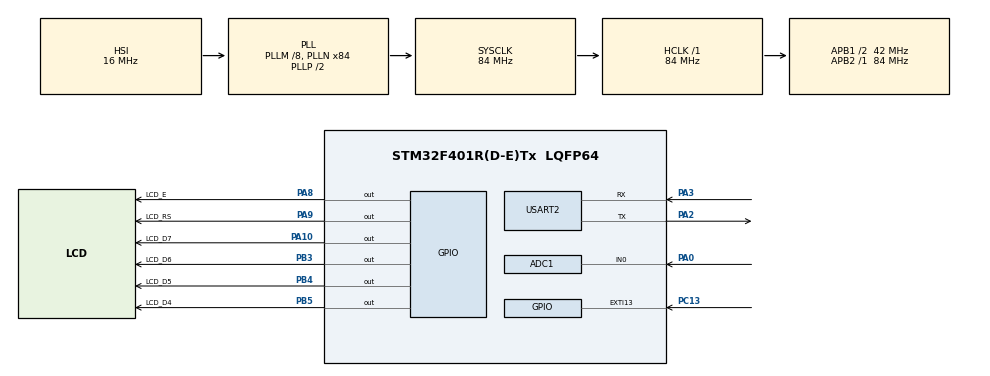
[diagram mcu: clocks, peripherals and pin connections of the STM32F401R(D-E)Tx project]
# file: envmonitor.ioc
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ADC1.Channel-0\#ChannelRegularConversion=ADC_CHANNEL_0
ADC1.NbrOfConversionFlag=1
ADC1.Rank-0\#ChannelRegularConversion=1
ADC1.SamplingTime-0\#ChannelRegularConversion=ADC_SAMPLETIME_3CYCLES
ADC1.master=1
Mcu.Family=STM32F4
Mcu.Name=STM32F401R(D-E)Tx
Mcu.Package=LQFP64
NVIC.EXTI15_10_IRQn=true\:0\:0\:false\:false\:true\:true\:true\:true
NVIC.PriorityGroup=NVIC_PRIORITYGROUP_4
PA0-WKUP.Signal=ADCx_IN0
PA10.GPIO_Label=LCD_D7
PA10.Signal=GPIO_Output
PA2.Mode=Asynchronous
PA2.Signal=USART2_TX
PA3.Mode=Asynchronous
PA3.Signal=USART2_RX
PA8.GPIO_Label=LCD_E
PA8.Signal=GPIO_Output
PA9.GPIO_Label=LCD_RS
PA9.Signal=GPIO_Output
PB3.GPIO_Label=LCD_D6
PB3.Signal=GPIO_Output
PB4.GPIO_Label=LCD_D5
PB4.Signal=GPIO_Output
PB5.GPIO_Label=LCD_D4
PB5.Signal=GPIO_Output
PC13-ANTI_TAMP.GPIO_ModeDefaultEXTI=GPIO_MODE_IT_FALLING
PC13-ANTI_TAMP.Signal=GPXTI13
ProjectManager.HeapSize=0x200
ProjectManager.StackSize=0x400
ProjectManager.TargetToolchain=MDK-ARM V5.32
RCC.48MHZClocksFreq_Value=42000000
RCC.AHBFreq_Value=84000000
RCC.APB1CLKDivider=RCC_HCLK_DIV2
RCC.APB1Freq_Value=42000000
RCC.APB1TimFreq_Value=84000000
RCC.APB2Freq_Value=84000000
RCC.APB2TimFreq_Value=84000000
RCC.CortexFreq_Value=84000000
RCC.HCLKFreq_Value=84000000
RCC.HSE_VALUE=25000000
RCC.HSI_VALUE=16000000
RCC.LSE_VALUE=32768
RCC.PLLM=8
RCC.PLLN=84
RCC.SYSCLKFreq_VALUE=84000000
RCC.SYSCLKSource=RCC_SYSCLKSOURCE_PLLCLK
RCC.VCOOutputFreq_Value=168000000
SH.ADCx_IN0.0=ADC1_IN0,IN0
TIM2.Period=0xFFFFFFFF
TIM2.Prescaler=83
USART2.VirtualMode=VM_ASYNC
VP_TIM2_VS_ClockSourceINT.Mode=Internal
board=custom

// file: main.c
/* USER CODE BEGIN Header */
/**
  ******************************************************************************
  * @file           : main.c
  * @brief          : Main program body
  ******************************************************************************
  * @attention
  *
  * Copyright (c) 2026 STMicroelectronics.
  * All rights reserved.
  *
  * This software is licensed under terms that can be found in the LICENSE file
  * in the root directory of this software component.
  * If no LICENSE file comes with this software, it is provided AS-IS.
  *
  ******************************************************************************
  */
/* USER CODE END Header */
#include "main.h"

/* USER CODE BEGIN Includes */
#include <stdio.h>
#include <string.h>
/* USER CODE END Includes */

ADC_HandleTypeDef hadc1;

TIM_HandleTypeDef htim2;

UART_HandleTypeDef huart2;

void SystemClock_Config(void);
static void MX_GPIO_Init(void);
static void MX_ADC1_Init(void);
static void MX_USART2_UART_Init(void);
static void MX_TIM2_Init(void);
/* USER CODE BEGIN PFP */
void UART_Print(const char *msg);
uint32_t ADC_Read(void);
void delay_us(uint32_t us);
uint8_t DHT11_Read(uint8_t *temperature, uint8_t *humidity);
void LCD_Init(void);
void LCD_Clear(void);
void LCD_SetCursor(uint8_t row, uint8_t col);
void LCD_Print(const char *str);
void LCD_SendCmd(uint8_t cmd);
void LCD_SendData(uint8_t data);
void LCD_SendNibble(uint8_t nibble);
/* USER CODE END PFP */

/* USER CODE BEGIN 0 */
void UART_Print(const char *msg) {
    HAL_UART_Transmit(&huart2, (uint8_t*)msg, strlen(msg), HAL_MAX_DELAY);
}

uint32_t ADC_Read(void) {
    HAL_ADC_Start(&hadc1);
    HAL_ADC_PollForConversion(&hadc1, HAL_MAX_DELAY);
    return HAL_ADC_GetValue(&hadc1);
}

void delay_us(uint32_t us) {
    __HAL_TIM_SET_COUNTER(&htim2, 0);
    HAL_TIM_Base_Start(&htim2);
    while(__HAL_TIM_GET_COUNTER(&htim2) < us);
    HAL_TIM_Base_Stop(&htim2);
}

uint8_t DHT11_Read(uint8_t *temperature, uint8_t *humidity) {
    uint8_t data[5] = {0};

    // Send start signal
    GPIO_InitTypeDef GPIO_InitStruct = {0};
    GPIO_InitStruct.Pin = GPIO_PIN_1;
    GPIO_InitStruct.Mode = GPIO_MODE_OUTPUT_PP;
    GPIO_InitStruct.Speed = GPIO_SPEED_FREQ_LOW;
    HAL_GPIO_Init(GPIOA, &GPIO_InitStruct);

    HAL_GPIO_WritePin(GPIOA, GPIO_PIN_1, GPIO_PIN_RESET);
    HAL_Delay(18);
    HAL_GPIO_WritePin(GPIOA, GPIO_PIN_1, GPIO_PIN_SET);
    delay_us(30);

    // Switch to input to read response
    GPIO_InitStruct.Mode = GPIO_MODE_INPUT;
    GPIO_InitStruct.Pull = GPIO_PULLUP;
    HAL_GPIO_Init(GPIOA, &GPIO_InitStruct);

    // Wait for DHT11 response
    delay_us(40);
    if(HAL_GPIO_ReadPin(GPIOA, GPIO_PIN_1) == GPIO_PIN_SET) return 0;
    delay_us(80);
    if(HAL_GPIO_ReadPin(GPIOA, GPIO_PIN_1) == GPIO_PIN_RESET) return 0;
    delay_us(80);

    // Read 40 bits (5 bytes)
    for(int i = 0; i < 5; i++) {
        for(int j = 7; j >= 0; j--) {
            while(HAL_GPIO_ReadPin(GPIOA, GPIO_PIN_1) == GPIO_PIN_RESET);
            delay_us(40);
            if(HAL_GPIO_ReadPin(GPIOA, GPIO_PIN_1) == GPIO_PIN_SET) {
                data[i] |= (1 << j);
                while(HAL_GPIO_ReadPin(GPIOA, GPIO_PIN_1) == GPIO_PIN_SET);
            }
        }
    }

    // Verify checksum
    if(data[4] != (data[0] + data[1] + data[2] + data[3])) return 0;

    *humidity    = data[0];
    *temperature = data[2];
    return 1;
}
// --- LCD Driver ---

void LCD_SendNibble(uint8_t nibble) {
    HAL_GPIO_WritePin(GPIOB, GPIO_PIN_5, (nibble >> 0) & 1); // D4
    HAL_GPIO_WritePin(GPIOB, GPIO_PIN_4, (nibble >> 1) & 1); // D5
    HAL_GPIO_WritePin(GPIOB, GPIO_PIN_3, (nibble >> 2) & 1); // D6
    HAL_GPIO_WritePin(GPIOA, GPIO_PIN_10,(nibble >> 3) & 1); // D7

    // Pulse E pin
    HAL_GPIO_WritePin(GPIOA, GPIO_PIN_8, GPIO_PIN_SET);
    delay_us(1);
    HAL_GPIO_WritePin(GPIOA, GPIO_PIN_8, GPIO_PIN_RESET);
    delay_us(50);
}

void LCD_SendCmd(uint8_t cmd) {
    HAL_GPIO_WritePin(GPIOA, GPIO_PIN_9, GPIO_PIN_RESET); // RS = 0 (command)
    LCD_SendNibble(cmd >> 4);   // high nibble first
    LCD_SendNibble(cmd & 0x0F); // low nibble
    HAL_Delay(2);
}

void LCD_SendData(uint8_t data) {
    HAL_GPIO_WritePin(GPIOA, GPIO_PIN_9, GPIO_PIN_SET); // RS = 1 (data)
    LCD_SendNibble(data >> 4);   // high nibble first
    LCD_SendNibble(data & 0x0F); // low nibble
    HAL_Delay(2);
}

void LCD_Init(void) {
    HAL_Delay(50); // wait for LCD power up

    HAL_GPIO_WritePin(GPIOA, GPIO_PIN_9, GPIO_PIN_RESET); // RS = 0
    HAL_GPIO_WritePin(GPIOA, GPIO_PIN_8, GPIO_PIN_RESET); // E  = 0

    // 4-bit init sequence
    LCD_SendNibble(0x03);
    HAL_Delay(5);
    LCD_SendNibble(0x03);
    HAL_Delay(1);
    LCD_SendNibble(0x03);
    HAL_Delay(1);
    LCD_SendNibble(0x02); // switch to 4-bit mode

    LCD_SendCmd(0x28); // 4-bit, 2 lines, 5x8 font
    LCD_SendCmd(0x0C); // display on, cursor off
    LCD_SendCmd(0x06); // entry mode - increment, no shift
    LCD_SendCmd(0x01); // clear display
    HAL_Delay(2);
}

void LCD_Clear(void) {
    LCD_SendCmd(0x01);
    HAL_Delay(2);
}

void LCD_SetCursor(uint8_t row, uint8_t col) {
    uint8_t addr = (row == 0) ? 0x00 : 0x40;
    LCD_SendCmd(0x80 | (addr + col));
}

void LCD_Print(const char *str) {
    while(*str) {
        LCD_SendData((uint8_t)*str++);
    }
}
// State machine
DisplayState currentScreen = SCREEN_MAIN;

// Min/max tracking
uint8_t maxTemp = 0, minTemp = 99;
uint8_t maxHum = 0, minHum = 99;

// Button debounce
uint32_t lastButtonPress = 0;

/* USER CODE END 0 */

int main(void)
{

  /* MCU Configuration--------------------------------------------------------*/

  /* Reset of all peripherals, Initializes the Flash interface and the Systick. */
  HAL_Init();

  /* Configure the system clock */
  SystemClock_Config();

  /* Initialize all configured peripherals */
  MX_GPIO_Init();
  MX_ADC1_Init();
  MX_USART2_UART_Init();
  MX_TIM2_Init();
  /* USER CODE BEGIN 2 */
	UART_Print("Boot OK\r\n");
LCD_Init();
LCD_SetCursor(0, 0);
LCD_Print("Env Monitor");
LCD_SetCursor(1, 0);
LCD_Print("Starting...");
HAL_Delay(3000);
LCD_Clear();
  /* USER CODE END 2 */

  /* Infinite loop */
  while (1)
  {

    /* USER CODE BEGIN 3 */
uint32_t lightRaw = ADC_Read();
uint32_t lightPct = (lightRaw * 100) / 4095;

uint8_t temp = 0, hum = 0;
uint8_t dht_ok = DHT11_Read(&temp, &hum);

if(dht_ok) {
    if(temp > maxTemp) maxTemp = temp;
    if(temp < minTemp) minTemp = temp;
    if(hum > maxHum)   maxHum = hum;
    if(hum < minHum)   minHum = hum;
}

char buf[64];
sprintf(buf, "Light: %u%%  Temp: %uC  Hum: %u%%  DHT:%s\r\n",
        lightPct, temp, hum, dht_ok ? "OK" : "ERR");
UART_Print(buf);

char line1[17], line2[17];

switch(currentScreen) {
    case SCREEN_MAIN:
        if(dht_ok)
            snprintf(line1, sizeof(line1), "T:%uC  H:%u%%      ", temp, hum);
        else
            snprintf(line1, sizeof(line1), "DHT Error       ");
        snprintf(line2, sizeof(line2), "Light: %u%%      ", lightPct);
        break;

    case SCREEN_MINMAX:
        snprintf(line1, sizeof(line1), "MaxT:%uC MinT:%uC", maxTemp, minTemp);
        snprintf(line2, sizeof(line2), "MaxH:%u%% MinH:%u%%", maxHum, minHum);
        break;

    case SCREEN_SUMMARY:
        snprintf(line1, sizeof(line1), "Env Monitor     ");
        if(dht_ok && temp < 30 && hum < 60)
            snprintf(line2, sizeof(line2), "All Good!       ");
        else if(temp >= 30)
            snprintf(line2, sizeof(line2), "Too Hot!        ");
        else if(hum >= 60)
            snprintf(line2, sizeof(line2), "Too Humid!      ");
        else
            snprintf(line2, sizeof(line2), "Check Sensors   ");
        break;
}

LCD_SetCursor(0, 0);
LCD_Print(line1);
LCD_SetCursor(1, 0);
LCD_Print(line2);

HAL_Delay(1000);
	}
  /* USER CODE END 3 */
}

void SystemClock_Config(void)
{
  RCC_OscInitTypeDef RCC_OscInitStruct = {0};
  RCC_ClkInitTypeDef RCC_ClkInitStruct = {0};

  /** Configure the main internal regulator output voltage
  */
  __HAL_RCC_PWR_CLK_ENABLE();
  __HAL_PWR_VOLTAGESCALING_CONFIG(PWR_REGULATOR_VOLTAGE_SCALE2);

  /** Initializes the RCC Oscillators according to the specified parameters
  * in the RCC_OscInitTypeDef structure.
  */
  RCC_OscInitStruct.OscillatorType = RCC_OSCILLATORTYPE_HSI;
  RCC_OscInitStruct.HSIState = RCC_HSI_ON;
  RCC_OscInitStruct.HSICalibrationValue = RCC_HSICALIBRATION_DEFAULT;
  RCC_OscInitStruct.PLL.PLLState = RCC_PLL_ON;
  RCC_OscInitStruct.PLL.PLLSource = RCC_PLLSOURCE_HSI;
  RCC_OscInitStruct.PLL.PLLM = 8;
  RCC_OscInitStruct.PLL.PLLN = 84;
  RCC_OscInitStruct.PLL.PLLP = RCC_PLLP_DIV2;
  RCC_OscInitStruct.PLL.PLLQ = 4;
  if (HAL_RCC_OscConfig(&RCC_OscInitStruct) != HAL_OK)
  {
    Error_Handler();
  }

  /** Initializes the CPU, AHB and APB buses clocks
  */
  RCC_ClkInitStruct.ClockType = RCC_CLOCKTYPE_HCLK|RCC_CLOCKTYPE_SYSCLK
                              |RCC_CLOCKTYPE_PCLK1|RCC_CLOCKTYPE_PCLK2;
  RCC_ClkInitStruct.SYSCLKSource = RCC_SYSCLKSOURCE_PLLCLK;
  RCC_ClkInitStruct.AHBCLKDivider = RCC_SYSCLK_DIV1;
  RCC_ClkInitStruct.APB1CLKDivider = RCC_HCLK_DIV2;
  RCC_ClkInitStruct.APB2CLKDivider = RCC_HCLK_DIV1;

  if (HAL_RCC_ClockConfig(&RCC_ClkInitStruct, FLASH_LATENCY_2) != HAL_OK)
  {
    Error_Handler();
  }
}

static void MX_ADC1_Init(void)
{

  ADC_ChannelConfTypeDef sConfig = {0};

  /** Configure the global features of the ADC (Clock, Resolution, Data Alignment and number of conversion)
  */
  hadc1.Instance = ADC1;
  hadc1.Init.ClockPrescaler = ADC_CLOCK_SYNC_PCLK_DIV4;
  hadc1.Init.Resolution = ADC_RESOLUTION_12B;
  hadc1.Init.ScanConvMode = DISABLE;
  hadc1.Init.ContinuousConvMode = DISABLE;
  hadc1.Init.DiscontinuousConvMode = DISABLE;
  hadc1.Init.ExternalTrigConvEdge = ADC_EXTERNALTRIGCONVEDGE_NONE;
  hadc1.Init.ExternalTrigConv = ADC_SOFTWARE_START;
  hadc1.Init.DataAlign = ADC_DATAALIGN_RIGHT;
  hadc1.Init.NbrOfConversion = 1;
  hadc1.Init.DMAContinuousRequests = DISABLE;
  hadc1.Init.EOCSelection = ADC_EOC_SINGLE_CONV;
  if (HAL_ADC_Init(&hadc1) != HAL_OK)
  {
    Error_Handler();
  }

  /** Configure for the selected ADC regular channel its corresponding rank in the sequencer and its sample time.
  */
  sConfig.Channel = ADC_CHANNEL_0;
  sConfig.Rank = 1;
  sConfig.SamplingTime = ADC_SAMPLETIME_3CYCLES;
  if (HAL_ADC_ConfigChannel(&hadc1, &sConfig) != HAL_OK)
  {
    Error_Handler();
  }

}

static void MX_TIM2_Init(void)
{

  TIM_ClockConfigTypeDef sClockSourceConfig = {0};
  TIM_MasterConfigTypeDef sMasterConfig = {0};

  htim2.Instance = TIM2;
  htim2.Init.Prescaler = 83;
  htim2.Init.CounterMode = TIM_COUNTERMODE_UP;
  htim2.Init.Period = 0xFFFFFFFF;
  htim2.Init.ClockDivision = TIM_CLOCKDIVISION_DIV1;
  htim2.Init.AutoReloadPreload = TIM_AUTORELOAD_PRELOAD_DISABLE;
  if (HAL_TIM_Base_Init(&htim2) != HAL_OK)
  {
    Error_Handler();
  }
  sClockSourceConfig.ClockSource = TIM_CLOCKSOURCE_INTERNAL;
  if (HAL_TIM_ConfigClockSource(&htim2, &sClockSourceConfig) != HAL_OK)
  {
    Error_Handler();
  }
  sMasterConfig.MasterOutputTrigger = TIM_TRGO_RESET;
  sMasterConfig.MasterSlaveMode = TIM_MASTERSLAVEMODE_DISABLE;
  if (HAL_TIMEx_MasterConfigSynchronization(&htim2, &sMasterConfig) != HAL_OK)
  {
    Error_Handler();
  }

}

static void MX_USART2_UART_Init(void)
{

  huart2.Instance = USART2;
  huart2.Init.BaudRate = 115200;
  huart2.Init.WordLength = UART_WORDLENGTH_8B;
  huart2.Init.StopBits = UART_STOPBITS_1;
  huart2.Init.Parity = UART_PARITY_NONE;
  huart2.Init.Mode = UART_MODE_TX_RX;
  huart2.Init.HwFlowCtl = UART_HWCONTROL_NONE;
  huart2.Init.OverSampling = UART_OVERSAMPLING_16;
  if (HAL_UART_Init(&huart2) != HAL_OK)
  {
    Error_Handler();
  }

}

static void MX_GPIO_Init(void)
{
  GPIO_InitTypeDef GPIO_InitStruct = {0};

  /* GPIO Ports Clock Enable */
  __HAL_RCC_GPIOC_CLK_ENABLE();
  __HAL_RCC_GPIOA_CLK_ENABLE();
  __HAL_RCC_GPIOB_CLK_ENABLE();

  /*Configure GPIO pin Output Level */
  HAL_GPIO_WritePin(GPIOA, LCD_E_Pin|LCD_RS_Pin|LCD_D7_Pin, GPIO_PIN_RESET);

  /*Configure GPIO pin Output Level */
  HAL_GPIO_WritePin(GPIOB, LCD_D6_Pin|LCD_D5_Pin|LCD_D4_Pin, GPIO_PIN_RESET);

  /*Configure GPIO pin : PC13 */
  GPIO_InitStruct.Pin = GPIO_PIN_13;
  GPIO_InitStruct.Mode = GPIO_MODE_IT_FALLING;
  GPIO_InitStruct.Pull = GPIO_NOPULL;
  HAL_GPIO_Init(GPIOC, &GPIO_InitStruct);

  /*Configure GPIO pins : LCD_E_Pin LCD_RS_Pin LCD_D7_Pin */
  GPIO_InitStruct.Pin = LCD_E_Pin|LCD_RS_Pin|LCD_D7_Pin;
  GPIO_InitStruct.Mode = GPIO_MODE_OUTPUT_PP;
  GPIO_InitStruct.Pull = GPIO_NOPULL;
  GPIO_InitStruct.Speed = GPIO_SPEED_FREQ_LOW;
  HAL_GPIO_Init(GPIOA, &GPIO_InitStruct);

  /*Configure GPIO pins : LCD_D6_Pin LCD_D5_Pin LCD_D4_Pin */
  GPIO_InitStruct.Pin = LCD_D6_Pin|LCD_D5_Pin|LCD_D4_Pin;
  GPIO_InitStruct.Mode = GPIO_MODE_OUTPUT_PP;
  GPIO_InitStruct.Pull = GPIO_NOPULL;
  GPIO_InitStruct.Speed = GPIO_SPEED_FREQ_LOW;
  HAL_GPIO_Init(GPIOB, &GPIO_InitStruct);

  /* EXTI interrupt init*/
  HAL_NVIC_SetPriority(EXTI15_10_IRQn, 0, 0);
  HAL_NVIC_EnableIRQ(EXTI15_10_IRQn);

}

void Error_Handler(void)
{
  __disable_irq();
  while (1)
  {
  }
}
